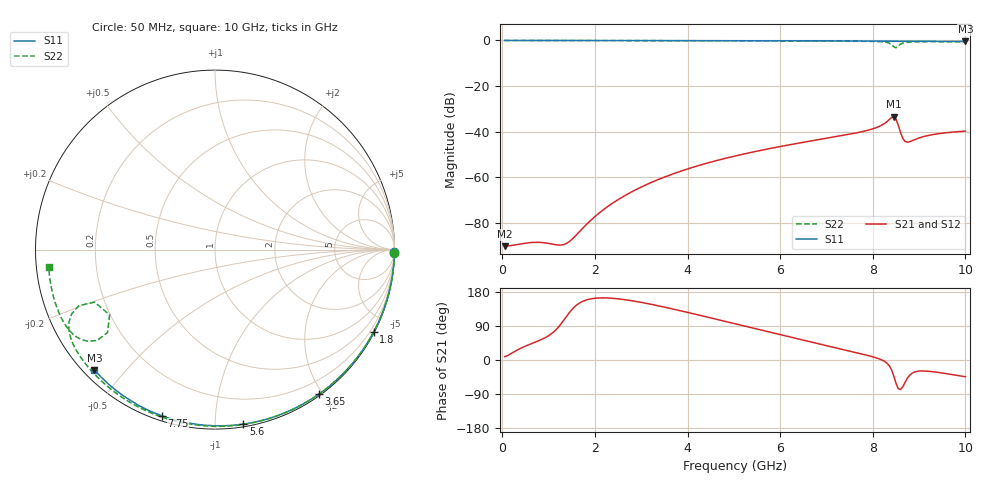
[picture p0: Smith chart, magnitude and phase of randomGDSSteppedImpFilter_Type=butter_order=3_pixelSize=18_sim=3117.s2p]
! freq	dB(S11)	phase(S11)	dB(S12)	phase(S12)
!  dB(S21)	phase(S21)	dB(S22)	phase(S22)
!S-par simulation data
#  GHz  S  DB  R 50
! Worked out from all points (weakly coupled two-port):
!   200 points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, 50 MHz to 10 GHz, reference 50 ohm
!   highest |S21| = -33.48 dB at 8.45 GHz (marker M1); lowest = -90.3 dB at 50 MHz (marker M2)
!   lowest |S11| = -0.5 dB at 10 GHz (marker M3), VSWR 38.06, Z = 1.54 - j20.7 ohm
!   |S11| at or under -10 dB: nowhere
!   |S22| runs from -3.2 to 0.0 dB; largest |S21 - S12| = 0
!   S11 on the Smith chart (normalised r, x): 50 MHz: open; 1.8 GHz: 0.04, -4.10; 3.65 GHz: 0.02, -1.95; 5.6 GHz: 0.02, -1.18; 7.75 GHz: 0.02, -0.73; 10 GHz: 0.03, -0.41
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0.05  -0.00 -0.8  -90.35 8.8  -90.35 8.8  -0.00 -1.0
0.85  -0.02 -13.1  -88.73 54.3  -88.73 54.3  -0.02 -16.8
1.75  -0.03 -26.7  -82.17 155.5  -82.17 155.5  -0.04 -34.2
1.8  -0.03 -27.4  -81.14 157.8  -81.14 157.8  -0.04 -35.1
1.85  -0.04 -28.2  -80.14 159.7  -80.14 159.7  -0.05 -36.1
2.2  -0.04 -33.4  -74.07 163.9  -74.07 163.9  -0.05 -42.7
2.6  -0.05 -39.3  -68.69 159.9  -68.69 159.9  -0.06 -50.2
3.4  -0.07 -50.8  -60.81 142.2  -60.81 142.2  -0.09 -64.8
3.65  -0.07 -54.3  -58.87 135.5  -58.87 135.5  -0.09 -69.2
5.05  -0.11 -73.5  -50.63 94.8  -50.63 94.8  -0.14 -93.5
5.6  -0.13 -80.8  -48.20 78.6  -48.20 78.6  -0.17 -102.8
6.7  -0.18 -94.8  -44.02 46.6  -44.02 46.6  -0.24 -121.1
7.75  -0.25 -107.8  -40.15 16.3  -40.15 16.3  -0.34 -139.3
8.1  -0.27 -112.0  -38.08 4.7  -38.08 4.7  -0.46 -146.9
8.35  -0.29 -115.0  -34.88 -14.2  -34.88 -14.2  -1.13 -155.7
8.45  -0.30 -116.3  -33.48 -40.6  -33.48 -40.6  -2.71 -156.4
8.5  -0.30 -116.9  -34.43 -60.9  -34.43 -60.9  -3.22 -148.2
8.6  -0.32 -118.0  -40.43 -78.0  -40.43 -78.0  -1.62 -142.4
8.65  -0.32 -118.6  -43.04 -70.4  -43.04 -70.4  -1.17 -144.2
8.75  -0.33 -119.8  -44.69 -47.3  -44.69 -47.3  -0.79 -147.9
9.25  -0.37 -125.8  -41.52 -30.3  -41.52 -30.3  -0.55 -159.8
10  -0.46 -135.0  -39.81 -44.2  -39.81 -44.2  -0.62 -174.0
